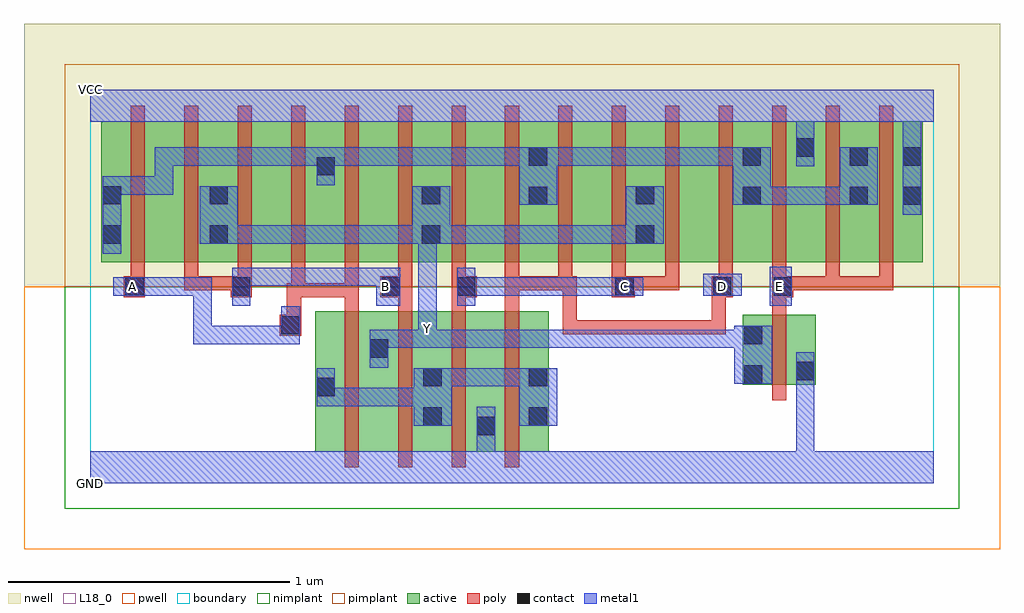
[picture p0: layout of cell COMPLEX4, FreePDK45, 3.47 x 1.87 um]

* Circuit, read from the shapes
.subckt COMPLEX4 A B C D E GND VCC Y
M1 Y A n1 VSUBS nfet w=0.5u l=0.05u
M2 n1 B Y VSUBS nfet w=0.5u l=0.05u
M3 GND C n1 VSUBS nfet w=0.5u l=0.05u
M4 n1 D GND VSUBS nfet w=0.5u l=0.05u
M5 GND E Y VSUBS nfet w=0.25u l=0.05u
M6 n2 A n3 n4 pfet w=0.5u l=0.05u
M7 Y B n2 n4 pfet w=0.5u l=0.05u
M8 n5 B Y n4 pfet w=0.5u l=0.05u
M9 n3 A n5 n4 pfet w=0.5u l=0.05u
M10 n6 A n3 n4 pfet w=0.5u l=0.05u
M11 Y B n6 n4 pfet w=0.5u l=0.05u
M12 n7 C Y n4 pfet w=0.5u l=0.05u
M13 n3 D n7 n4 pfet w=0.5u l=0.05u
M14 n8 D n3 n4 pfet w=0.5u l=0.05u
M15 Y C n8 n4 pfet w=0.5u l=0.05u
M16 n9 C Y n4 pfet w=0.5u l=0.05u
M17 n3 D n9 n4 pfet w=0.5u l=0.05u
M18 VCC E n3 n4 pfet w=0.5u l=0.05u m=3
.ends

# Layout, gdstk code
import gdstk
lib = gdstk.Library(unit=1e-6, precision=1e-09)
def R(c, l, rs):  # rectangles x0, y0, x1, y1
    for r in rs: c.add(gdstk.rectangle(r[:2], r[2:], *l))
def A(c, l, x, y, w, h, nx, ny, dx, dy):  # array of equal rectangles
    R(c, l, [(x+i*dx, y+j*dy, x+i*dx+w, y+j*dy+h) for i in range(nx) for j in range(ny)])
active = (1, 0)
pwell = (2, 0)
nwell = (3, 0)
nimplant = (4, 0)
pimplant = (5, 0)
poly = (9, 0)
contact = (10, 0)
metal1 = (11, 0)
L18_0 = (18, 0)
boundary = (235, 0)

complex4 = lib.new_cell('COMPLEX4')
A(complex4, active, 0.8, 0.112, 0.265, 0.5, 3, 1, 0.19, 0)
A(complex4, active, 0.04, 0.787, 0.225, 0.5, 3, 1, 0.38, 0)
A(complex4, active, 1.025, 0.787, 0.225, 0.5, 4, 1, 0.38, 0)
A(complex4, active, 1.175, 0.787, 0.23, 0.5, 3, 1, 0.38, 0)
A(complex4, active, 2.315, 0.787, 0.265, 0.5, 3, 1, 0.19, 0)
R(complex4, active, [(1.37,0.112,1.63,0.612), (1.37,0.112,1.445,0.55), (0.8,0.145,0.875,0.612), (0.99,0.145,1.065,0.592), (1.18,0.145,1.255,0.592), (1.555,0.145,1.63,0.612), (2.32,0.35,2.395,0.6), (2.32,0.35,2.58,0.6), (2.505,0.35,2.58,0.6), (0.04,0.787,0.145,1.2), (0.265,0.787,0.495,1.287), (0.42,0.787,0.495,1.07), (0.645,0.787,0.875,1.287), (0.8,0.787,0.875,1.2), (1.175,0.787,1.25,1.07), (1.555,0.787,1.63,1.2), (1.935,0.787,2.01,1.07), (2.315,0.787,2.39,1.2), (2.505,0.787,2.58,1.287), (2.695,0.787,2.77,1.2), (2.885,0.787,2.96,1.287)])
R(complex4, pwell, [(-0.235,-0.235,3.235,0.7)])
R(complex4, nwell, [(-0.235,0.7,3.235,1.635)])
R(complex4, nimplant, [(-0.09,-0.09,3.09,0.7)])
R(complex4, pimplant, [(-0.09,0.7,3.09,1.49)])
A(complex4, poly, 0.905, 0.057, 0.05, 0.61, 4, 1, 0.19, 0)
A(complex4, poly, 0.905, 0.617, 0.05, 0.095, 3, 1, 0.19, 0)
A(complex4, poly, 0.145, 0.687, 0.05, 0.095, 3, 1, 0.19, 0)
A(complex4, poly, 1.095, 0.687, 0.05, 0.095, 10, 1, 0.19, 0)
A(complex4, poly, 0.145, 0.732, 0.05, 0.61, 15, 1, 0.19, 0)
R(complex4, poly, [(2.425,0.295,2.475,0.655), (0.675,0.525,0.75,0.6), (1.68,0.53,1.73,0.58), (1.68,0.53,1.73,0.58), (1.68,0.53,1.73,0.58), (1.68,0.53,1.962,0.58), (1.68,0.53,1.73,0.737), (1.912,0.53,1.962,0.58), (1.912,0.53,2.095,0.58), (2.045,0.53,2.095,0.58), (2.045,0.53,2.095,0.58), (2.045,0.53,2.095,0.58), (2.045,0.53,2.26,0.58), (2.21,0.53,2.26,0.58), (2.21,0.53,2.26,0.58), (2.21,0.53,2.26,0.58), (2.21,0.53,2.26,0.58), (2.21,0.53,2.26,0.58), (2.21,0.53,2.26,0.712), (0.7,0.55,0.75,0.6), (0.7,0.55,0.75,0.6), (0.7,0.55,0.75,0.712), (2.425,0.605,2.475,0.712), (1.475,0.617,1.525,0.737), (0.12,0.662,0.195,0.737), (0.5,0.662,0.575,0.737), (0.7,0.662,0.765,0.712), (0.715,0.662,0.765,0.712), (0.715,0.662,0.765,0.712), (0.715,0.662,0.955,0.712), (0.715,0.662,0.765,0.782), (0.905,0.662,0.955,0.712), (0.905,0.662,0.955,0.782), (1.032,0.662,1.145,0.737), (1.285,0.662,1.375,0.737), (1.855,0.662,1.937,0.737), (2.21,0.662,2.285,0.737), (2.425,0.662,2.5,0.737), (0.335,0.687,0.385,0.737), (0.335,0.687,0.55,0.737), (0.5,0.687,0.55,0.737), (0.5,0.687,0.55,0.737), (1.475,0.687,1.525,0.737), (1.475,0.687,1.525,0.737), (1.475,0.687,1.525,0.737), (1.475,0.687,1.715,0.737), (1.665,0.687,1.715,0.737), (1.665,0.687,1.715,0.737), (1.665,0.687,1.73,0.737), (1.887,0.687,1.937,0.737), (1.887,0.687,1.937,0.737), (1.887,0.687,2.095,0.737), (2.045,0.687,2.095,0.737), (2.45,0.687,2.665,0.737), (2.615,0.687,2.665,0.737), (2.615,0.687,2.665,0.737), (2.615,0.687,2.665,0.737), (2.615,0.687,2.855,0.737), (2.805,0.687,2.855,0.737), (2.805,0.687,2.855,0.737), (2.805,0.687,2.855,0.737)])
R(complex4, contact, [(1.375,0.172,1.44,0.237), (1.185,0.205,1.25,0.27), (1.56,0.205,1.625,0.27), (0.805,0.31,0.87,0.375), (1.185,0.345,1.25,0.41), (1.56,0.345,1.625,0.41), (2.325,0.355,2.39,0.42), (2.51,0.367,2.575,0.432), (0.995,0.447,1.06,0.512), (2.325,0.495,2.39,0.56), (0.68,0.53,0.745,0.595), (0.125,0.667,0.19,0.732), (0.505,0.667,0.57,0.732), (1.037,0.667,1.102,0.732), (1.305,0.667,1.37,0.732), (1.867,0.667,1.932,0.732), (2.215,0.667,2.28,0.732), (2.43,0.667,2.495,0.732), (0.045,0.852,0.11,0.917), (0.425,0.852,0.49,0.917), (1.18,0.852,1.245,0.917), (1.94,0.852,2.005,0.917), (1.56,0.99,1.625,1.055), (2.32,0.99,2.385,1.055), (2.7,0.99,2.765,1.055), (2.89,0.99,2.955,1.055), (0.045,0.992,0.11,1.057), (0.425,0.992,0.49,1.057), (1.18,0.992,1.245,1.057), (1.94,0.992,2.005,1.057), (0.805,1.095,0.87,1.16), (1.56,1.13,1.625,1.195), (2.32,1.13,2.385,1.195), (2.7,1.13,2.765,1.195), (2.89,1.13,2.955,1.195), (2.51,1.162,2.575,1.227)])
A(complex4, metal1, 1.357, 0.482, 0.065, 0.065, 1, 3, 0, 0.185)
A(complex4, metal1, 1.357, 0.482, 0.233, 0.065, 1, 3, 0, 0.185)
R(complex4, metal1, [(0,0,3,0.115), (1.375,0.05,1.44,0.115), (1.375,0.05,1.44,0.115), (1.375,0.05,1.44,0.202), (2.51,0.05,2.575,0.115), (2.51,0.05,2.575,0.115), (2.51,0.05,2.575,0.115), (2.51,0.05,2.575,0.115), (2.51,0.05,2.575,0.115), (2.51,0.05,2.575,0.115), (2.51,0.05,2.575,0.397), (1.375,0.137,1.44,0.272), (1.15,0.205,1.285,0.41), (1.525,0.205,1.66,0.41), (0.805,0.275,0.87,0.34), (0.805,0.275,0.87,0.34), (0.805,0.275,0.87,0.41), (0.805,0.275,1.072,0.34), (1.007,0.275,1.072,0.34), (1.007,0.275,1.072,0.34), (1.007,0.275,1.072,0.34), (1.007,0.275,1.215,0.34), (2.51,0.332,2.575,0.467), (1.22,0.345,1.422,0.41), (1.357,0.345,1.422,0.41), (1.357,0.345,1.422,0.41), (1.357,0.345,1.422,0.41), (1.357,0.345,1.59,0.41), (1.525,0.345,1.59,0.41), (1.525,0.345,1.59,0.41), (2.29,0.355,2.425,0.56), (0.995,0.412,1.06,0.547), (0.995,0.482,1.232,0.547), (1.167,0.482,1.232,0.547), (1.167,0.482,1.232,0.547), (1.167,0.482,1.232,0.547), (1.167,0.482,1.232,0.547), (1.167,0.482,1.232,0.617), (1.167,0.482,1.422,0.547), (1.357,0.482,1.422,0.547), (1.357,0.482,1.422,0.547), (1.525,0.482,1.59,0.547), (1.525,0.482,1.59,0.547), (1.525,0.482,1.59,0.547), (1.525,0.482,1.727,0.547), (1.662,0.482,1.727,0.547), (1.662,0.482,1.797,0.547), (1.732,0.482,1.797,0.547), (1.732,0.482,1.97,0.547), (1.905,0.482,1.97,0.547), (1.905,0.482,1.97,0.547), (1.905,0.482,1.97,0.547), (1.905,0.482,2.107,0.547), (2.042,0.482,2.107,0.547), (2.042,0.482,2.107,0.547), (2.042,0.482,2.107,0.547), (2.042,0.482,2.245,0.547), (2.18,0.482,2.245,0.547), (2.18,0.482,2.355,0.547), (0.367,0.495,0.432,0.56), (0.367,0.495,0.525,0.56), (0.367,0.495,0.432,0.732), (0.46,0.495,0.525,0.56), (0.46,0.495,0.732,0.56), (0.667,0.495,0.732,0.56), (0.667,0.495,0.732,0.56), (0.667,0.495,0.732,0.56), (0.667,0.495,0.745,0.56), (0.68,0.495,0.745,0.63), (1.167,0.552,1.232,0.917), (0.505,0.632,0.57,0.767), (1.017,0.632,1.102,0.767), (1.305,0.632,1.37,0.767), (2.417,0.632,2.495,0.77), (0.082,0.667,0.225,0.732), (0.16,0.667,0.295,0.732), (0.23,0.667,0.295,0.732), (0.23,0.667,0.362,0.732), (0.297,0.667,0.362,0.732), (0.297,0.667,0.432,0.732), (0.367,0.667,0.432,0.732), (1.305,0.667,1.422,0.732), (1.525,0.667,1.59,0.732), (1.525,0.667,1.59,0.732), (1.525,0.667,1.59,0.732), (1.525,0.667,1.76,0.732), (1.695,0.667,1.76,0.732), (1.695,0.667,1.797,0.732), (1.732,0.667,1.797,0.732), (1.732,0.667,1.897,0.732), (1.832,0.667,1.967,0.732), (2.18,0.667,2.317,0.745), (0.505,0.702,0.662,0.767), (0.597,0.702,0.662,0.767), (0.597,0.702,0.732,0.767), (0.667,0.702,0.732,0.767), (0.667,0.702,0.922,0.767), (0.857,0.702,0.922,0.767), (0.857,0.702,0.922,0.767), (0.857,0.702,0.922,0.767), (0.857,0.702,1.072,0.767), (1.007,0.702,1.072,0.767), (1.007,0.702,1.082,0.767), (0.045,0.817,0.11,1.092), (0.39,0.852,0.525,1.057), (0.46,0.852,0.525,0.917), (0.46,0.852,0.525,0.917), (0.46,0.852,0.662,0.917), (0.597,0.852,0.662,0.917), (0.597,0.852,0.732,0.917), (0.667,0.852,0.732,0.917), (0.667,0.852,0.922,0.917), (0.857,0.852,0.922,0.917), (0.857,0.852,0.922,0.917), (0.857,0.852,0.922,0.917), (0.857,0.852,1.072,0.917), (1.007,0.852,1.072,0.917), (1.007,0.852,1.072,0.917), (1.007,0.852,1.072,0.917), (1.007,0.852,1.21,0.917), (1.145,0.852,1.28,1.057), (1.215,0.852,1.422,0.917), (1.357,0.852,1.422,0.917), (1.357,0.852,1.422,0.917), (1.525,0.852,1.59,0.917), (1.525,0.852,1.59,0.917), (1.525,0.852,1.59,0.917), (1.525,0.852,1.727,0.917), (1.662,0.852,1.727,0.917), (1.662,0.852,1.812,0.917), (1.747,0.852,1.812,0.917), (1.747,0.852,1.97,0.917), (1.905,0.852,1.97,0.917), (1.905,0.852,1.97,0.917), (1.905,0.852,2.04,1.057), (2.89,0.955,2.955,1.23), (1.525,0.99,1.66,1.195), (2.285,0.99,2.42,1.195), (2.355,0.99,2.42,1.055), (2.355,0.99,2.42,1.055), (2.355,0.99,2.562,1.055), (2.497,0.99,2.562,1.055), (2.497,0.99,2.73,1.055), (2.665,0.99,2.73,1.055), (2.665,0.99,2.73,1.055), (2.665,0.99,2.8,1.195), (0.045,1.027,0.11,1.092), (0.045,1.027,0.11,1.092), (0.045,1.027,0.295,1.092), (0.23,1.027,0.295,1.092), (0.23,1.027,0.295,1.195), (0.805,1.06,0.87,1.195), (2.51,1.127,2.575,1.262), (0.23,1.13,0.295,1.195), (0.23,1.13,0.362,1.195), (0.297,1.13,0.362,1.195), (0.297,1.13,0.525,1.195), (0.46,1.13,0.525,1.195), (0.46,1.13,0.525,1.195), (0.46,1.13,0.525,1.195), (0.46,1.13,0.662,1.195), (0.597,1.13,0.662,1.195), (0.597,1.13,0.732,1.195), (0.667,1.13,0.732,1.195), (0.667,1.13,0.87,1.195), (0.805,1.13,0.87,1.195), (0.805,1.13,0.87,1.195), (0.805,1.13,1.072,1.195), (1.007,1.13,1.072,1.195), (1.007,1.13,1.072,1.195), (1.007,1.13,1.072,1.195), (1.007,1.13,1.285,1.195), (1.22,1.13,1.285,1.195), (1.22,1.13,1.422,1.195), (1.357,1.13,1.422,1.195), (1.357,1.13,1.422,1.195), (1.357,1.13,1.422,1.195), (1.357,1.13,1.59,1.195), (1.525,1.13,1.59,1.195), (1.525,1.13,1.59,1.195), (1.595,1.13,1.727,1.195), (1.662,1.13,1.727,1.195), (1.662,1.13,1.797,1.195), (1.732,1.13,1.797,1.195), (1.732,1.13,1.97,1.195), (1.905,1.13,1.97,1.195), (1.905,1.13,1.97,1.195), (1.905,1.13,1.97,1.195), (1.905,1.13,2.107,1.195), (2.042,1.13,2.107,1.195), (2.042,1.13,2.177,1.195), (2.112,1.13,2.177,1.195), (2.112,1.13,2.177,1.195), (2.112,1.13,2.177,1.195), (2.112,1.13,2.245,1.195), (2.18,1.13,2.245,1.195), (2.18,1.13,2.35,1.195), (2.89,1.165,2.955,1.35), (2.51,1.197,2.575,1.35), (0,1.285,3,1.4)])
A(complex4, L18_0, 1.357, 0.482, 0.065, 0.065, 1, 3, 0, 0.185)
A(complex4, L18_0, 1.357, 0.482, 0.233, 0.065, 1, 3, 0, 0.185)
R(complex4, L18_0, [(0,0,3,0.115), (1.375,0.05,1.44,0.115), (1.375,0.05,1.44,0.115), (1.375,0.05,1.44,0.202), (2.51,0.05,2.575,0.115), (2.51,0.05,2.575,0.115), (2.51,0.05,2.575,0.115), (2.51,0.05,2.575,0.115), (2.51,0.05,2.575,0.115), (2.51,0.05,2.575,0.115), (2.51,0.05,2.575,0.397), (1.375,0.137,1.44,0.272), (2.51,0.332,2.575,0.467), (2.29,0.355,2.425,0.56), (0.995,0.412,1.06,0.547), (0.995,0.482,1.232,0.547), (1.167,0.482,1.232,0.547), (1.167,0.482,1.232,0.547), (1.167,0.482,1.232,0.547), (1.167,0.482,1.232,0.547), (1.167,0.482,1.232,0.617), (1.167,0.482,1.422,0.547), (1.357,0.482,1.422,0.547), (1.357,0.482,1.422,0.547), (1.525,0.482,1.59,0.547), (1.525,0.482,1.59,0.547), (1.525,0.482,1.59,0.547), (1.525,0.482,1.727,0.547), (1.662,0.482,1.727,0.547), (1.662,0.482,1.797,0.547), (1.732,0.482,1.797,0.547), (1.732,0.482,1.97,0.547), (1.905,0.482,1.97,0.547), (1.905,0.482,1.97,0.547), (1.905,0.482,1.97,0.547), (1.905,0.482,2.107,0.547), (2.042,0.482,2.107,0.547), (2.042,0.482,2.107,0.547), (2.042,0.482,2.107,0.547), (2.042,0.482,2.245,0.547), (2.18,0.482,2.245,0.547), (2.18,0.482,2.355,0.547), (0.367,0.495,0.432,0.56), (0.367,0.495,0.432,0.732), (0.367,0.495,0.525,0.56), (0.46,0.495,0.525,0.56), (0.46,0.495,0.732,0.56), (0.667,0.495,0.732,0.56), (0.667,0.495,0.732,0.56), (0.667,0.495,0.732,0.56), (0.667,0.495,0.745,0.56), (0.68,0.495,0.745,0.63), (1.167,0.517,1.232,0.582), (1.167,0.552,1.232,0.917), (0.505,0.632,0.57,0.767), (1.017,0.632,1.102,0.767), (1.305,0.632,1.37,0.767), (2.417,0.632,2.495,0.77), (0.082,0.667,0.225,0.732), (0.117,0.667,0.182,0.732), (0.16,0.667,0.295,0.732), (0.23,0.667,0.295,0.732), (0.23,0.667,0.362,0.732), (0.297,0.667,0.362,0.732), (0.297,0.667,0.432,0.732), (0.367,0.667,0.432,0.732), (1.017,0.667,1.082,0.732), (1.305,0.667,1.422,0.732), (1.525,0.667,1.59,0.732), (1.525,0.667,1.59,0.732), (1.525,0.667,1.59,0.732), (1.525,0.667,1.76,0.732), (1.695,0.667,1.76,0.732), (1.695,0.667,1.797,0.732), (1.732,0.667,1.797,0.732), (1.732,0.667,1.897,0.732), (1.832,0.667,1.967,0.732), (1.867,0.667,1.932,0.732), (2.18,0.667,2.317,0.745), (2.217,0.667,2.282,0.732), (2.417,0.667,2.482,0.732), (0.505,0.702,0.662,0.767), (0.597,0.702,0.662,0.767), (0.597,0.702,0.732,0.767), (0.667,0.702,0.732,0.767), (0.667,0.702,0.922,0.767), (0.857,0.702,0.922,0.767), (0.857,0.702,0.922,0.767), (0.857,0.702,0.922,0.767), (0.857,0.702,1.072,0.767), (1.007,0.702,1.072,0.767), (1.007,0.702,1.082,0.767), (0.39,0.852,0.525,1.057), (0.46,0.852,0.525,0.917), (0.46,0.852,0.525,0.917), (0.46,0.852,0.662,0.917), (0.597,0.852,0.662,0.917), (0.597,0.852,0.732,0.917), (0.667,0.852,0.732,0.917), (0.667,0.852,0.922,0.917), (0.857,0.852,0.922,0.917), (0.857,0.852,0.922,0.917), (0.857,0.852,0.922,0.917), (0.857,0.852,1.072,0.917), (1.007,0.852,1.072,0.917), (1.007,0.852,1.072,0.917), (1.007,0.852,1.072,0.917), (1.007,0.852,1.21,0.917), (1.145,0.852,1.28,1.057), (1.215,0.852,1.422,0.917), (1.357,0.852,1.422,0.917), (1.357,0.852,1.422,0.917), (1.525,0.852,1.59,0.917), (1.525,0.852,1.59,0.917), (1.525,0.852,1.59,0.917), (1.525,0.852,1.727,0.917), (1.662,0.852,1.727,0.917), (1.662,0.852,1.812,0.917), (1.747,0.852,1.812,0.917), (1.747,0.852,1.97,0.917), (1.905,0.852,1.97,0.917), (1.905,0.852,1.97,0.917), (1.905,0.852,2.04,1.057), (2.89,0.955,2.955,1.23), (2.51,1.127,2.575,1.262), (2.89,1.165,2.955,1.35), (2.51,1.197,2.575,1.35), (0,1.285,3,1.4)])
R(complex4, boundary, [(0,0,3,1.4)])
complex4.add(gdstk.Label('A', (0.15,0.7), layer=11, texttype=0))
complex4.add(gdstk.Label('B', (1.05,0.7), layer=11, texttype=0))
complex4.add(gdstk.Label('C', (1.9,0.7), layer=11, texttype=0))
complex4.add(gdstk.Label('D', (2.25,0.7), layer=11, texttype=0))
complex4.add(gdstk.Label('E', (2.45,0.7), layer=11, texttype=0))
complex4.add(gdstk.Label('Y', (1.2,0.55), layer=11, texttype=0))
complex4.add(gdstk.Label('VCC', (0,1.4), layer=11, texttype=0))
complex4.add(gdstk.Label('GND', (0,0), layer=11, texttype=0))

lib.write_gds('COMPLEX4.gds')
